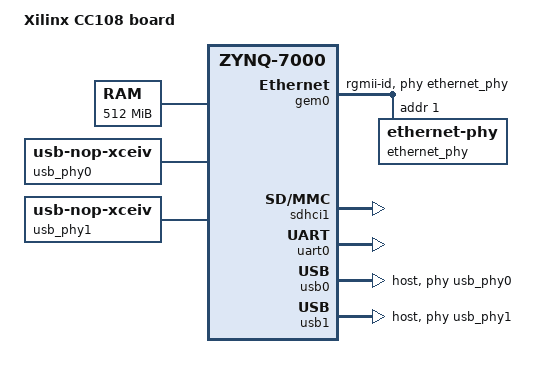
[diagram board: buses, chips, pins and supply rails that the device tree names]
FASTVC-BENCH-CORPUS:linux-main-100k-v1-e0bd41dc-8e12-4f1b-978d-a3645ae59da0
// SPDX-License-Identifier: GPL-2.0+
/*
 * Xilinx CC108 board DTS
/* bench 6212.0.0 69ce288a1d38 */
/* bench 6212.0.1 1a0efca986c1 */
/* bench 6212.0.2 f97266c0aa4e */
/* bench 6212.0.3 22056d5713f5 */
/* bench 6212.0.4 eb3b0ab7847c */
/* bench 6212.0.5 ccce6495429f */
/* bench 6212.0.6 448e9bdacfa2 */
/* bench 6212.0.7 6f0690ce08a3 */
/* bench 6212.0.8 369d2a91f0f1 */
/* bench 6212.0.9 04d3d4afb889 */
 *
 * (C) Copyright 2007-2018 Xilinx, Inc.
 * (C) Copyright 2007-2013 Michal Simek
 * (C) Copyright 2007-2012 PetaLogix Qld Pty Ltd
 *
 * Michal SIMEK <monstr@monstr.eu>
 */
/dts-v1/;
/include/ "zynq-7000.dtsi"

/ {
	model = "Xilinx CC108 board";
	compatible = "xlnx,zynq-cc108", "xlnx,zynq-7000";

	aliases {
		ethernet0 = &gem0;
		serial0 = &uart0;
	};

	chosen {
		bootargs = "";
		stdout-path = "serial0:115200n8";
	};

	memory@0 {
		device_type = "memory";
		reg = <0x0 0x20000000>;
	};

	usb_phy0: phy0 {
		compatible = "usb-nop-xceiv";
		#phy-cells = <0>;
	};

	usb_phy1: phy1 {
		compatible = "usb-nop-xceiv";
		#phy-cells = <0>;
	};
};

&gem0 {
	status = "okay";
	phy-mode = "rgmii-id";
	phy-handle = <&ethernet_phy>;

	ethernet_phy: ethernet-phy@1 {
		reg = <1>;
		device_type = "ethernet-phy";
	};
};

&sdhci1 {
	status = "okay";
	broken-cd ;
	wp-inverted ;
};

&uart0 {
	status = "okay";
};

&usb0 {
	status = "okay";
	dr_mode = "host";
	usb-phy = <&usb_phy0>;
};

&usb1 {
	status = "okay";
	dr_mode = "host";
	usb-phy = <&usb_phy1>;
};
